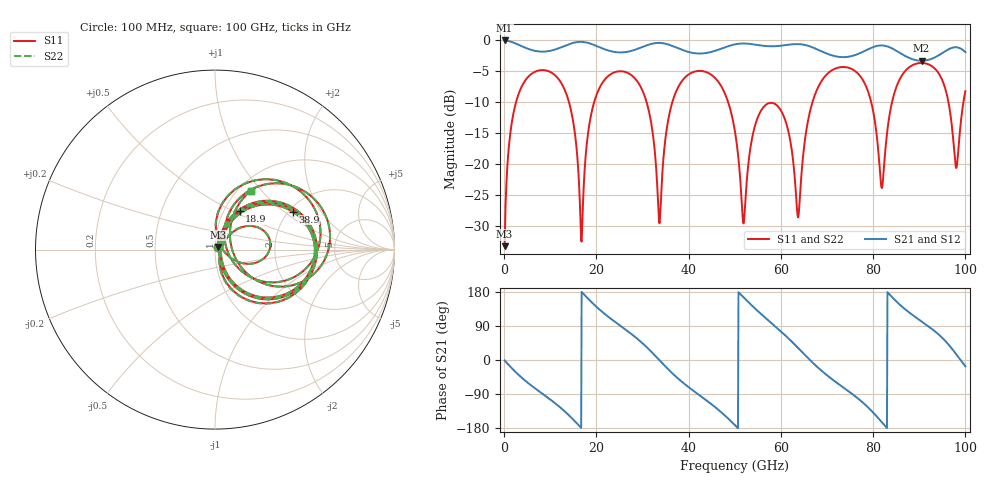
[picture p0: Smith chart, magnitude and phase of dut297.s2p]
! Touchstone file exported from HFSS 2026.1.0
!  File:  C:/ffzhzh/LocalFiles/Ansys_Project_Files/temp_train_TSV_RDL_297_1783681944_33328.aedt
!  Generated:  07:22:43 PM Jul 10, 2026
!  Design:  TSV_RDL
!  Project:  temp_train_TSV_RDL_297_1783681944_33328
! Variables:
!  h_bsmrdl = 2.85um
!  h_ox = 20um
!  h_rdl = 5um
!  h_sub = 82.05um
!  h_tmrdl = 4.71um
!  h_tsv = 82.05um
!  h_via = 3um
!  l_bsmrdl = 391.5um
!  l_sub = 3600.17um
!  l_tmrdl = 474.88um
!  m_sub = 200um
!  pitch = 52.92um
!  r_tsv = 5.93um
!  s_tmrdl = 10um
!  w_bsmrdl = 19.14um
!  w_sub = 500um
!  w_tmrdl = 22.91um
!  x_tsv_center1 = 486.335um
!  x_tsv_center2 = 896.975um
!  x_tsv_center3 = 1394.765um
!  x_tsv_center4 = 1805.405um
!  x_tsv_center5 = 2303.195um
!  x_tsv_center6 = 2713.835um
# GHz S MA R 50.000000
! Terminal data exported
! Port[1] = TM_RDL1_1_T1
! Port[2] = TM_RDL5_1_T1
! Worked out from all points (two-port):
!   1000 points, 100 MHz to 100 GHz, reference 50 ohm
!   highest |S21| = -0.14 dB at 100 MHz (marker M1); lowest = -3.4 dB at 90.5 GHz (marker M2)
!   |S21| within 3 dB of the highest: start of sweep to 88.47 GHz; 92.5 GHz to end of sweep
!   lowest |S11| = -33.2 dB at 100 MHz (marker M3), VSWR 1.04, Z = 51.7 + j1.45 ohm
!   |S11| at or under -10 dB: 14.03 GHz to 19.54 GHz (5.509 GHz wide, 32.8 % of centre); 30.86 GHz to 36.49 GHz (5.629 GHz wide, 16.7 % of centre); 48.54 GHz to 66.87 GHz (18.34 GHz wide, 31.8 % of centre) (the widest 3 of 6)
!   |S22| runs from -33.2 to -3.8 dB; largest |S21 - S12| = 2.8e-12
!   S11 on the Smith chart (normalised r, x): 100 MHz: 1.03, +0.03; 18.9 GHz: 1.18, +0.54; 38.9 GHz: 2.10, +1.15; 100 GHz: 1.14, +0.88
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0.1  0.02184 40.0  0.9835 -1.4  0.9835 -1.4  0.02184 40.0
! Gamma 0 0 0 0
! Port Impedance 50 0 50 0
2.3  0.2861 56.1  0.9364 -29.5  0.9364 -29.5  0.2861 56.1
7.8  0.5669 3.7  0.8007 -84.6  0.8007 -84.6  0.5669 3.7
13.9  0.3285 -52.4  0.9123 -144.2  0.9123 -144.2  0.3284 -52.4
16.8  0.02375 11.0  0.9582 179.6  0.9582 179.6  0.02427 10.8
18.9  0.2538 57.2  0.9222 153.2  0.9222 153.2  0.2539 57.1
28.6  0.4757 -30.2  0.8336 58.7  0.8336 58.7  0.4757 -30.3
33.4  0.04614 -42.6  0.9402 2.9  0.9402 2.9  0.04622 -42.4
38.9  0.4817 26.0  0.8179 -61.1  0.8179 -61.1  0.4819 25.9
50.1  0.1767 -72.0  0.9162 -172.6  0.9162 -172.6  0.1765 -73.0
51.9  0.03328 -11.9  0.9298 165.4  0.9298 165.4  0.03037 -12.1
54.5  0.2097 37.9  0.9091 134.7  0.9091 134.7  0.2092 38.5
58.7  0.304 -0.1  0.8843 89.5  0.8843 89.5  0.3039 0.1
63.7  0.0372 25.6  0.9192 32.2  0.9192 32.2  0.03595 25.2
66.7  0.3007 77.1  0.8701 -4.8  0.8701 -4.8  0.3003 77.5
77.1  0.5135 -12.4  0.7762 -105.3  0.7762 -105.3  0.5133 -12.3
81.8  0.06504 5.8  0.8972 -162.9  0.8972 -162.9  0.06433 5.9
83.4  0.2278 68.7  0.8724 175.1  0.8724 175.1  0.2277 69.0
90.5  0.6483 11.4  0.6752 101.8  0.6752 101.8  0.6482 11.5
95.3  0.4406 -27.8  0.7921 54.6  0.7921 54.6  0.4404 -27.8
98  0.09292 10.3  0.8674 15.3  0.8674 15.3  0.09209 10.5
100  0.3843 58.7  0.7927 -16.6  0.7927 -16.6  0.3842 58.8
